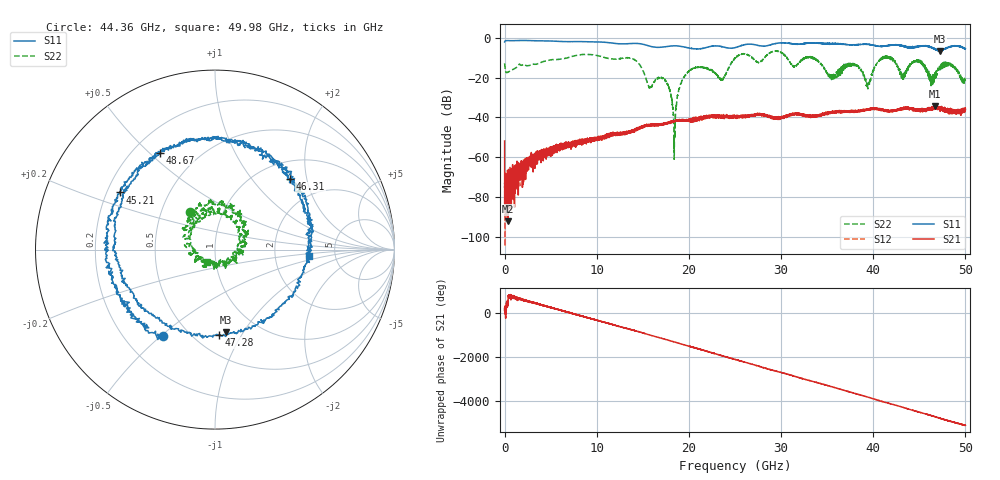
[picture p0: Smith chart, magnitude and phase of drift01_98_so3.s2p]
!Created with skrf (http://scikit-rf.org).
# Hz S RI R 50.0
!freq ReS11 ImS11 ReS21 ImS21 ReS12 ImS12 ReS22 ImS22
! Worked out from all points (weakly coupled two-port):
!   10001 points, 300 kHz to 50 GHz, reference 50 ohm
!   highest |S21| = -34.32 dB at 46.71 GHz (marker M1); lowest = -92.2 dB at 365.3 MHz (marker M2)
!   lowest |S11| = -6.6 dB at 47.24 GHz (marker M3), VSWR 2.74, Z = 36 - j42.3 ohm
!   |S11| at or under -10 dB: nowhere
!   |S22| runs from -61.1 to -6.6 dB; largest |S21 - S12| = 0.0041
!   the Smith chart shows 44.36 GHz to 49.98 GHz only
!   S11 on the Smith chart (normalised r, x): 44.36 GHz: 0.36, -0.51; 45.21 GHz: 0.25, +0.26; 46.31 GHz: 1.37, +1.59; 47.28 GHz: 0.65, -0.80; 48.67 GHz: 0.31, +0.54; 49.98 GHz: 3.16, -0.32
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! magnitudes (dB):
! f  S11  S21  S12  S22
! 300 kHz  -2.1  -51.9  -72.7  -12.8
! 365.3 MHz  -1.4  -92.2  -79.3  -17.3
! 8.335 GHz  -1.9  -52.7  -52.2  -8.5
! 16.67 GHz  -4.8  -43.4  -43.7  -20.0
! 17.74 GHz  -4.3  -43.2  -42.9  -23.9
! 18.43 GHz  -4.1  -42.0  -42.1  -50.3
! 19.9 GHz  -5.1  -41.5  -41.5  -17.2
! 23.6 GHz  -4.5  -40.1  -39.2  -20.6
! 25 GHz  -5.0  -39.6  -39.9  -10.4
! 33.34 GHz  -2.6  -39.6  -39.0  -9.9
! 39.46 GHz  -3.3  -35.9  -36.1  -23.2
! 41.67 GHz  -3.9  -37.0  -36.6  -9.8
! 43.19 GHz  -4.1  -36.1  -35.4  -19.1
! 44.36 GHz  -5.0  -36.3  -36.2  -12.0
! 45.21 GHz  -4.2  -36.8  -36.4  -12.5
! 46.31 GHz  -4.8  -35.3  -35.3  -20.7
! 46.71 GHz  -5.6  -34.3  -35.3  -17.8
! 47.24 GHz  -6.6  -36.5  -35.5  -15.3
! 47.28 GHz  -6.5  -36.1  -35.9  -16.0
! 48.67 GHz  -4.1  -36.9  -37.0  -14.2
! 49.98 GHz  -5.6  -35.1  -36.2  -21.9
! 50 GHz  -5.5  -35.8  -36.3  -21.8
